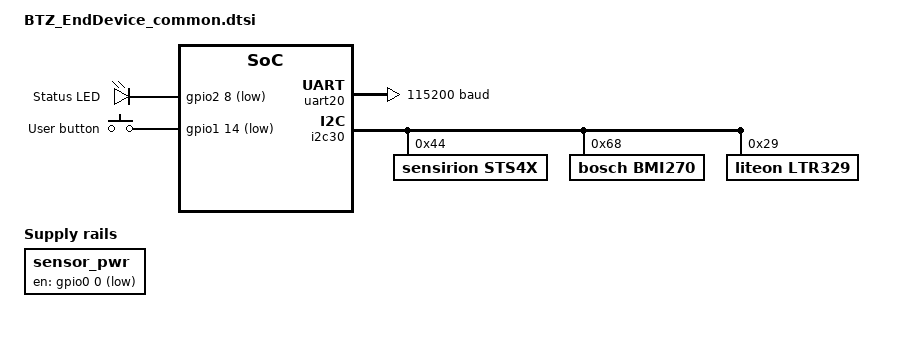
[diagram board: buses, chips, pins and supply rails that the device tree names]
/*
 * Copyright (c) 2026 Goodbyte
 * SPDX-License-Identifier: Apache-2.0
 */

#include "BTZ_EndDevice-pinctrl.dtsi"

/ {
	leds {
		compatible = "gpio-leds";

		led0: led_0 {
			gpios = <&gpio2 8 GPIO_ACTIVE_LOW>;
			label = "Status LED";
		};
	};

	buttons {
		compatible = "gpio-keys";

		button0: button_0 {
			gpios = <&gpio1 14 (GPIO_ACTIVE_LOW | GPIO_PULL_UP)>;
			label = "User button";
			zephyr,code = <INPUT_KEY_0>;
		};
	};

	/* Bramka zasilania czujników: P0.00 aktywny stanem niskim (enable = low) */
	sensor_pwr: sensor_pwr {
		compatible = "regulator-fixed";
		regulator-name = "sensor_pwr";
		enable-gpios = <&gpio0 0 GPIO_ACTIVE_LOW>;
		regulator-boot-on;
	};

	aliases {
		led0 = &led0;
		sw0 = &button0;
		watchdog0 = &wdt31;
	};
};

&uart20 {
	current-speed = <115200>;
	pinctrl-0 = <&uart20_default>;
	pinctrl-1 = <&uart20_sleep>;
	pinctrl-names = "default", "sleep";
};

/*
 * ---------------------------------------------------------------------------
 * Wymagania po stronie aplikacji (prj.conf), aby czujniki I2C działały:
 *
 *   CONFIG_I2C=y               magistrala I2C (sterownik TWIM)
 *   CONFIG_REGULATOR=y         podsystem regulatorów (framework)
 *   CONFIG_REGULATOR_FIXED=y   sterownik bramki zasilania sensor_pwr (P0.00)
 *   CONFIG_SENSOR=y            API czujnikow (sensor_sample_fetch/_channel_get)
 *
 */
&i2c30 {
	status = "okay";
	pinctrl-0 = <&i2c30_default>;
	pinctrl-1 = <&i2c30_sleep>;
	pinctrl-names = "default", "sleep";

	sts4x: sts4x@44 {
		compatible = "sensirion,sts4x";
		reg = <0x44>;
		repeatability = <2>;
	};

	bmi270: bmi270@68 {
		compatible = "bosch,bmi270";
		reg = <0x68>;
	};

	ltr329: ltr329@29 {
		compatible = "liteon,ltr329";
		reg = <0x29>;
	};
};
